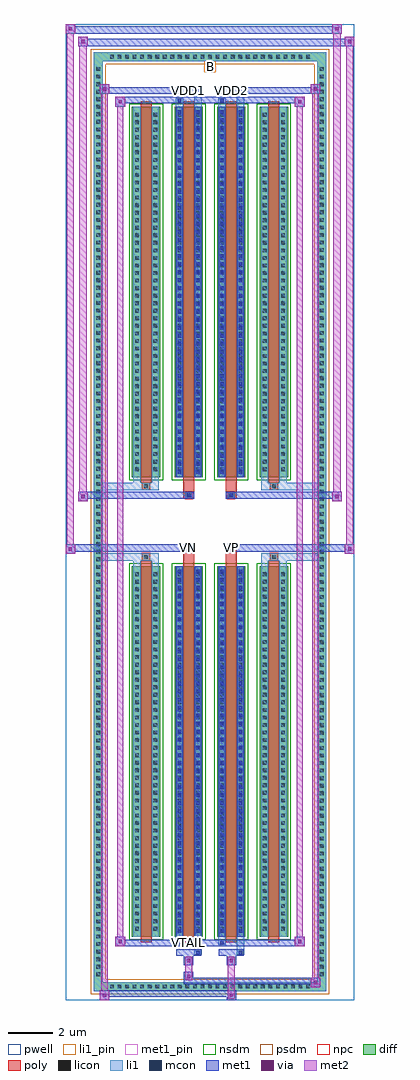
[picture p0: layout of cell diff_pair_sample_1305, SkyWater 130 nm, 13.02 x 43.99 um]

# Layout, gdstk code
import gdstk
lib = gdstk.Library(unit=1e-6, precision=5e-09)
def R(c, l, rs):  # rectangles x0, y0, x1, y1
    for r in rs: c.add(gdstk.rectangle(r[:2], r[2:], *l))
def A(c, l, x, y, w, h, nx, ny, dx, dy):  # array of equal rectangles
    R(c, l, [(x+i*dx, y+j*dy, x+i*dx+w, y+j*dy+h) for i in range(nx) for j in range(ny)])
def P(c, l, *ps):  # polygons
    for p in ps: c.add(gdstk.Polygon(p, *l))
pwell = (64, 44)
diff = (65, 20)
poly = (66, 20)
licon = (66, 44)
li1_pin = (67, 16)
li1 = (67, 20)
mcon = (67, 44)
met1_pin = (68, 16)
met1 = (68, 20)
via = (68, 44)
met2 = (69, 20)
nsdm = (93, 44)
psdm = (94, 20)
npc = (95, 20)

diff_pair_sample_1305 = lib.new_cell('diff_pair_sample_1305')
R(diff_pair_sample_1305, pwell, [(-6.51,-21.56,6.51,22.43), (-3.83,-19.75,-0.01,-0.825), (0.01,-19.75,3.83,-0.825), (-3.83,0.825,-0.01,19.75), (0.01,0.825,3.83,19.75)])
A(diff_pair_sample_1305, diff, -4.625, -21.16, 0.41, 0.41, 27, 2, 0.34, 41.91)
A(diff_pair_sample_1305, diff, -5.24, -20.605, 0.41, 0.41, 1, 121, 0, 0.34)
A(diff_pair_sample_1305, diff, 4.83, -20.605, 0.41, 0.41, 1, 121, 0, 0.34)
A(diff_pair_sample_1305, diff, -3.52, -18.705, 1.28, 16.7, 4, 2, 1.92, 20.71)
R(diff_pair_sample_1305, diff, [(-4.625,-21.16,4.625,-20.75), (-5.24,-20.605,-4.83,20.605), (4.83,-20.605,5.24,20.605), (-4.625,20.75,4.625,21.16)])
P(diff_pair_sample_1305, diff, [(5.24,21.16),(-5.24,21.16),(-5.24,-20.75),(-4.83,-20.75),(-4.83,20.75),(4.83,20.75),(4.83,-20.75),(-4.83,-20.75),(-5.24,-20.75),(-5.24,-21.16),(5.24,-21.16)])
A(diff_pair_sample_1305, poly, -3.13, -18.955, 0.5, 17.2, 4, 2, 1.92, 20.71)
R(diff_pair_sample_1305, poly, [(-3.045,-1.755,-2.715,-1.425), (-3.045,-1.755,-2.715,-1.425), (-1.21,-1.755,-0.71,-1.355), (0.71,-1.755,1.21,-1.355), (2.715,-1.755,3.045,-1.425), (2.715,-1.755,3.045,-1.425), (-1.21,-1.355,-0.71,-1.025), (-1.125,-1.355,-0.795,-1.025), (0.71,-1.355,1.21,-1.025), (0.795,-1.355,1.125,-1.025), (-1.21,1.025,-0.71,1.355), (-1.125,1.025,-0.795,1.355), (0.71,1.025,1.21,1.355), (0.795,1.025,1.125,1.355), (-1.21,1.355,-0.71,1.755), (0.71,1.355,1.21,1.755), (-3.045,1.425,-2.715,1.755), (-3.045,1.425,-2.715,1.755), (2.715,1.425,3.045,1.755), (2.715,1.425,3.045,1.755)])
A(diff_pair_sample_1305, licon, -4.505, -21.04, 0.17, 0.17, 27, 2, 0.34, 41.91)
A(diff_pair_sample_1305, licon, -5.12, -20.485, 0.17, 0.17, 1, 121, 0, 0.34)
A(diff_pair_sample_1305, licon, 4.95, -20.485, 0.17, 0.17, 1, 121, 0, 0.34)
A(diff_pair_sample_1305, licon, -3.38, -18.43, 0.17, 0.17, 1, 48, 0, 0.34)
A(diff_pair_sample_1305, licon, -2.55, -18.43, 0.17, 0.17, 1, 48, 0, 0.34)
A(diff_pair_sample_1305, licon, -1.46, -18.43, 0.17, 0.17, 1, 48, 0, 0.34)
A(diff_pair_sample_1305, licon, -0.63, -18.43, 0.17, 0.17, 1, 48, 0, 0.34)
A(diff_pair_sample_1305, licon, 0.46, -18.43, 0.17, 0.17, 1, 48, 0, 0.34)
A(diff_pair_sample_1305, licon, 1.29, -18.43, 0.17, 0.17, 1, 48, 0, 0.34)
A(diff_pair_sample_1305, licon, 2.38, -18.43, 0.17, 0.17, 1, 48, 0, 0.34)
A(diff_pair_sample_1305, licon, 3.21, -18.43, 0.17, 0.17, 1, 48, 0, 0.34)
A(diff_pair_sample_1305, licon, -3.38, 2.28, 0.17, 0.17, 1, 48, 0, 0.34)
A(diff_pair_sample_1305, licon, -2.55, 2.28, 0.17, 0.17, 1, 48, 0, 0.34)
A(diff_pair_sample_1305, licon, -1.46, 2.28, 0.17, 0.17, 1, 48, 0, 0.34)
A(diff_pair_sample_1305, licon, -0.63, 2.28, 0.17, 0.17, 1, 48, 0, 0.34)
A(diff_pair_sample_1305, licon, 0.46, 2.28, 0.17, 0.17, 1, 48, 0, 0.34)
A(diff_pair_sample_1305, licon, 1.29, 2.28, 0.17, 0.17, 1, 48, 0, 0.34)
A(diff_pair_sample_1305, licon, 2.38, 2.28, 0.17, 0.17, 1, 48, 0, 0.34)
A(diff_pair_sample_1305, licon, 3.21, 2.28, 0.17, 0.17, 1, 48, 0, 0.34)
R(diff_pair_sample_1305, licon, [(-2.965,-1.675,-2.795,-1.505), (2.795,-1.675,2.965,-1.505), (-1.045,-1.275,-0.875,-1.105), (0.875,-1.275,1.045,-1.105), (-1.045,1.105,-0.875,1.275), (0.875,1.105,1.045,1.275), (-2.965,1.505,-2.795,1.675), (2.795,1.505,2.965,1.675)])
R(diff_pair_sample_1305, li1_pin, [(-0.25,20.25,0.25,20.75)])
A(diff_pair_sample_1305, li1, -4.585, -21.12, 0.33, 0.33, 27, 2, 0.34, 41.91)
A(diff_pair_sample_1305, li1, -5.2, -20.565, 0.33, 0.33, 1, 121, 0, 0.34)
A(diff_pair_sample_1305, li1, 4.87, -20.565, 0.33, 0.33, 1, 121, 0, 0.34)
A(diff_pair_sample_1305, li1, -1.46, -18.54, 0.17, 0.17, 1, 46, 0, 0.36)
A(diff_pair_sample_1305, li1, -0.63, -18.54, 0.17, 0.17, 1, 46, 0, 0.36)
A(diff_pair_sample_1305, li1, 0.46, -18.54, 0.17, 0.17, 1, 46, 0, 0.36)
A(diff_pair_sample_1305, li1, 1.29, -18.54, 0.17, 0.17, 1, 46, 0, 0.36)
A(diff_pair_sample_1305, li1, -3.46, -18.51, 0.33, 0.33, 1, 48, 0, 0.34)
A(diff_pair_sample_1305, li1, -2.63, -18.51, 0.33, 0.33, 1, 48, 0, 0.34)
A(diff_pair_sample_1305, li1, -1.54, -18.51, 0.33, 0.33, 1, 48, 0, 0.34)
A(diff_pair_sample_1305, li1, -0.71, -18.51, 0.33, 0.33, 1, 48, 0, 0.34)
A(diff_pair_sample_1305, li1, 0.38, -18.51, 0.33, 0.33, 1, 48, 0, 0.34)
A(diff_pair_sample_1305, li1, 1.21, -18.51, 0.33, 0.33, 1, 48, 0, 0.34)
A(diff_pair_sample_1305, li1, 2.3, -18.51, 0.33, 0.33, 1, 48, 0, 0.34)
A(diff_pair_sample_1305, li1, 3.13, -18.51, 0.33, 0.33, 1, 48, 0, 0.34)
A(diff_pair_sample_1305, li1, -1.46, 2.17, 0.17, 0.17, 1, 46, 0, 0.36)
A(diff_pair_sample_1305, li1, -0.63, 2.17, 0.17, 0.17, 1, 46, 0, 0.36)
A(diff_pair_sample_1305, li1, 0.46, 2.17, 0.17, 0.17, 1, 46, 0, 0.36)
A(diff_pair_sample_1305, li1, 1.29, 2.17, 0.17, 0.17, 1, 46, 0, 0.36)
A(diff_pair_sample_1305, li1, -3.46, 2.2, 0.33, 0.33, 1, 48, 0, 0.34)
A(diff_pair_sample_1305, li1, -2.63, 2.2, 0.33, 0.33, 1, 48, 0, 0.34)
A(diff_pair_sample_1305, li1, -1.54, 2.2, 0.33, 0.33, 1, 48, 0, 0.34)
A(diff_pair_sample_1305, li1, -0.71, 2.2, 0.33, 0.33, 1, 48, 0, 0.34)
A(diff_pair_sample_1305, li1, 0.38, 2.2, 0.33, 0.33, 1, 48, 0, 0.34)
A(diff_pair_sample_1305, li1, 1.21, 2.2, 0.33, 0.33, 1, 48, 0, 0.34)
A(diff_pair_sample_1305, li1, 2.3, 2.2, 0.33, 0.33, 1, 48, 0, 0.34)
A(diff_pair_sample_1305, li1, 3.13, 2.2, 0.33, 0.33, 1, 48, 0, 0.34)
R(diff_pair_sample_1305, li1, [(-5.24,-21.16,-4.83,-20.75), (-5.24,-21.16,-4.83,-20.75), (-4.83,-21.16,4.83,-20.75), (4.83,-21.16,5.24,-20.75), (4.83,-21.16,5.24,-20.75), (-5.24,-20.75,-4.83,20.75), (4.83,-20.75,5.24,20.75), (-0.71,-19.51,-0.38,-18.705), (-0.63,-19.51,-0.46,-19.34), (1.21,-19.51,1.54,-18.705), (1.29,-19.51,1.46,-19.34), (-1.54,-19.08,-1.21,-18.705), (-1.46,-19.08,-1.29,-18.91), (0.38,-19.08,0.71,-18.705), (0.46,-19.08,0.63,-18.91), (-3.46,-18.705,-3.13,-2.005), (-2.63,-18.705,-2.3,-2.005), (-1.54,-18.705,-1.21,-2.005), (-0.71,-18.705,-0.38,-2.005), (0.38,-18.705,0.71,-2.005), (1.21,-18.705,1.54,-2.005), (2.3,-18.705,2.63,-2.005), (3.13,-18.705,3.46,-2.005), (-1.46,-18.54,-1.29,-2.17), (-0.63,-18.54,-0.46,-2.17), (0.46,-18.54,0.63,-2.17), (1.29,-18.54,1.46,-2.17), (-3.46,-2.005,-3.13,-1.425), (-2.63,-2.005,-2.3,-1.425), (2.3,-2.005,2.63,-1.425), (3.13,-2.005,3.46,-1.425), (-5.24,-1.755,-3.045,-1.425), (-3.46,-1.755,-3.045,-1.425), (-3.045,-1.755,-2.715,-1.425), (-2.715,-1.755,-2.3,-1.425), (2.3,-1.755,2.715,-1.425), (2.715,-1.755,3.045,-1.425), (2.715,-1.755,5.24,-1.425), (3.045,-1.755,3.46,-1.425), (-1.125,-1.355,-0.795,-1.025), (0.795,-1.355,1.125,-1.025), (-1.125,1.025,-0.795,1.355), (0.795,1.025,1.125,1.355), (-5.24,1.425,-3.045,1.755), (-3.46,1.425,-3.045,1.755), (-3.46,1.425,-3.13,2.005), (-3.045,1.425,-2.715,1.755), (-2.715,1.425,-2.3,1.755), (-2.63,1.425,-2.3,2.005), (2.3,1.425,2.715,1.755), (2.3,1.425,2.63,2.005), (2.715,1.425,3.045,1.755), (2.715,1.425,5.24,1.755), (3.045,1.425,3.46,1.755), (3.13,1.425,3.46,2.005), (-3.46,2.005,-3.13,18.705), (-2.63,2.005,-2.3,18.705), (-1.54,2.005,-1.21,18.705), (-0.71,2.005,-0.38,18.705), (0.38,2.005,0.71,18.705), (1.21,2.005,1.54,18.705), (2.3,2.005,2.63,18.705), (3.13,2.005,3.46,18.705), (-1.46,2.17,-1.29,18.54), (-0.63,2.17,-0.46,18.54), (0.46,2.17,0.63,18.54), (1.29,2.17,1.46,18.54), (-1.54,18.705,-1.21,19.08), (-0.71,18.705,-0.38,19.51), (0.38,18.705,0.71,19.08), (1.21,18.705,1.54,19.51), (-1.46,18.91,-1.29,19.08), (0.46,18.91,0.63,19.08), (-0.63,19.34,-0.46,19.51), (1.29,19.34,1.46,19.51), (-5.24,20.75,-4.83,21.16), (-5.24,20.75,-4.83,21.16), (-4.83,20.75,4.83,21.16), (4.83,20.75,5.24,21.16), (4.83,20.75,5.24,21.16)])
A(diff_pair_sample_1305, mcon, -1.46, -18.54, 0.17, 0.17, 1, 46, 0, 0.36)
A(diff_pair_sample_1305, mcon, -0.63, -18.54, 0.17, 0.17, 1, 46, 0, 0.36)
A(diff_pair_sample_1305, mcon, 0.46, -18.54, 0.17, 0.17, 1, 46, 0, 0.36)
A(diff_pair_sample_1305, mcon, 1.29, -18.54, 0.17, 0.17, 1, 46, 0, 0.36)
A(diff_pair_sample_1305, mcon, -1.46, 2.17, 0.17, 0.17, 1, 46, 0, 0.36)
A(diff_pair_sample_1305, mcon, -0.63, 2.17, 0.17, 0.17, 1, 46, 0, 0.36)
A(diff_pair_sample_1305, mcon, 0.46, 2.17, 0.17, 0.17, 1, 46, 0, 0.36)
A(diff_pair_sample_1305, mcon, 1.29, 2.17, 0.17, 0.17, 1, 46, 0, 0.36)
R(diff_pair_sample_1305, mcon, [(-0.63,-19.51,-0.46,-19.34), (1.29,-19.51,1.46,-19.34), (-1.46,-19.08,-1.29,-18.91), (0.46,-19.08,0.63,-18.91), (-1.045,-1.275,-0.875,-1.105), (0.875,-1.275,1.045,-1.105), (-1.045,1.105,-0.875,1.275), (0.875,1.105,1.045,1.275), (-1.46,18.91,-1.29,19.08), (0.46,18.91,0.63,19.08), (-0.63,19.34,-0.46,19.51), (1.29,19.34,1.46,19.51)])
R(diff_pair_sample_1305, met1_pin, [(-1.095,-19.12,-0.825,-18.85), (-1.095,-1.295,-0.825,-1.025), (0.825,-1.295,1.095,-1.025), (-1.095,19.3,-0.825,19.57), (0.825,19.3,1.095,19.57)])
A(diff_pair_sample_1305, met1, -1.52, -18.6, 0.29, 0.29, 1, 46, 0, 0.36)
A(diff_pair_sample_1305, met1, -0.69, -18.6, 0.29, 0.29, 1, 46, 0, 0.36)
A(diff_pair_sample_1305, met1, 0.4, -18.6, 0.29, 0.29, 1, 46, 0, 0.36)
A(diff_pair_sample_1305, met1, 1.23, -18.6, 0.29, 0.29, 1, 46, 0, 0.36)
A(diff_pair_sample_1305, met1, -1.52, 2.11, 0.29, 0.29, 1, 46, 0, 0.36)
A(diff_pair_sample_1305, met1, -0.69, 2.11, 0.29, 0.29, 1, 46, 0, 0.36)
A(diff_pair_sample_1305, met1, 0.4, 2.11, 0.29, 0.29, 1, 46, 0, 0.36)
A(diff_pair_sample_1305, met1, 1.23, 2.11, 0.29, 0.29, 1, 46, 0, 0.36)
R(diff_pair_sample_1305, met1, [(-4.97,-21.56,-4.54,-21.13), (0.745,-21.56,1.175,-21.13), (-4.97,-21.42,1.175,-21.13), (4.54,-20.99,4.97,-20.56), (-1.175,-20.85,4.97,-20.56), (-1.175,-20.71,-0.745,-20.28), (-1.175,-20,-0.745,-19.57), (0.745,-20,1.175,-19.57), (-1.52,-19.57,-0.4,-19.28), (-0.69,-19.57,-0.4,-19.28), (0.4,-19.57,1.52,-19.28), (1.23,-19.57,1.52,-19.28), (-4.26,-19.14,-3.83,-18.71), (-4.26,-19.14,-1.52,-18.85), (-1.52,-19.14,-1.23,-18.85), (-1.52,-19.14,-0.4,-18.85), (-0.4,-19.14,0.4,-18.85), (0.4,-19.14,0.69,-18.85), (0.4,-19.14,1.52,-18.85), (1.52,-19.14,4.26,-18.85), (3.83,-19.14,4.26,-18.71), (-1.52,-18.705,-1.23,-2.005), (-0.69,-18.705,-0.4,-2.005), (0.4,-18.705,0.69,-2.005), (1.23,-18.705,1.52,-2.005), (-6.51,-1.455,-6.08,-1.025), (6.08,-1.455,6.51,-1.025), (-6.51,-1.355,-0.71,-1.025), (-1.21,-1.355,-0.71,-1.025), (0.71,-1.355,1.21,-1.025), (0.71,-1.355,6.51,-1.025), (-1.105,-1.335,-0.815,-1.045), (0.815,-1.335,1.105,-1.045), (-5.94,0.925,-5.51,1.355), (5.51,0.925,5.94,1.355), (-5.94,1.025,-1.21,1.355), (-1.21,1.025,-0.71,1.355), (0.71,1.025,1.21,1.355), (1.21,1.025,5.94,1.355), (-1.105,1.045,-0.815,1.335), (0.815,1.045,1.105,1.335), (-1.52,2.005,-1.23,18.705), (-0.69,2.005,-0.4,18.705), (0.4,2.005,0.69,18.705), (1.23,2.005,1.52,18.705), (-4.26,18.71,-3.83,19.14), (3.83,18.71,4.26,19.14), (-4.26,18.85,-1.52,19.14), (-1.52,18.85,-1.23,19.14), (-1.52,18.85,-0.4,19.14), (-0.4,18.85,0.4,19.14), (0.4,18.85,0.69,19.14), (0.4,18.85,1.52,19.14), (1.52,18.85,4.26,19.14), (-4.97,19.28,-4.54,19.71), (-4.97,19.28,-1.52,19.57), (-1.52,19.28,-0.4,19.57), (-0.69,19.28,-0.4,19.57), (0.4,19.28,1.52,19.57), (1.23,19.28,1.52,19.57), (1.52,19.28,4.97,19.57), (4.54,19.28,4.97,19.71), (-5.94,21.43,-5.51,21.86), (-5.94,21.43,-3.83,21.76), (-3.83,21.43,3.83,21.76), (3.83,21.43,6.51,21.76), (6.08,21.43,6.51,21.86), (-6.51,22,-6.08,22.43), (-6.51,22,-3.83,22.33), (-3.83,22,3.83,22.33), (3.83,22,5.94,22.33), (5.51,22,5.94,22.43)])
R(diff_pair_sample_1305, via, [(-4.83,-21.42,-4.68,-21.27), (0.885,-21.42,1.035,-21.27), (4.68,-20.85,4.83,-20.7), (-1.035,-20.57,-0.885,-20.42), (-1.035,-19.86,-0.885,-19.71), (0.885,-19.86,1.035,-19.71), (-4.12,-19,-3.97,-18.85), (3.97,-19,4.12,-18.85), (-6.37,-1.315,-6.22,-1.165), (6.22,-1.315,6.37,-1.165), (-5.8,1.065,-5.65,1.215), (5.65,1.065,5.8,1.215), (-4.12,18.85,-3.97,19), (3.97,18.85,4.12,19), (-4.83,19.42,-4.68,19.57), (4.68,19.42,4.83,19.57), (-5.8,21.57,-5.65,21.72), (6.22,21.57,6.37,21.72), (-6.37,22.14,-6.22,22.29), (5.65,22.14,5.8,22.29)])
R(diff_pair_sample_1305, met2, [(-4.97,-21.56,-4.54,-21.13), (-4.9,-21.56,-4.61,19.71), (-4.61,-21.56,-4.54,-21.13), (-4.92,-21.51,-4.59,-21.18), (0.795,-21.51,1.125,-21.18), (0.795,-21.18,1.125,-19.95), (4.54,-20.99,4.97,-20.56), (4.61,-20.99,4.9,19.71), (4.9,-20.99,4.97,-20.56), (4.59,-20.94,4.92,-20.61), (-1.125,-20.66,-0.795,-20.33), (-1.125,-20.33,-0.795,-19.95), (-1.125,-19.95,-0.795,-19.62), (0.795,-19.95,1.125,-19.62), (-4.26,-19.14,-3.83,-18.71), (-4.19,-19.14,-3.9,19.14), (-3.9,-19.14,-3.83,-18.71), (3.83,-19.14,4.26,-18.71), (3.9,-19.14,4.19,19.14), (4.19,-19.14,4.26,-18.71), (-4.21,-19.09,-3.88,-18.76), (3.88,-19.09,4.21,-18.76), (-6.51,-1.455,-6.08,-1.025), (-6.46,-1.455,-6.13,22.43), (-6.13,-1.455,-6.08,-1.025), (6.08,-1.455,6.51,-1.025), (6.13,-1.455,6.46,21.86), (6.46,-1.455,6.51,-1.025), (-6.46,-1.405,-6.13,-1.075), (6.13,-1.405,6.46,-1.075), (-5.94,0.925,-5.51,1.355), (-5.89,0.925,-5.56,21.86), (-5.56,0.925,-5.51,1.355), (5.51,0.925,5.94,1.355), (5.56,0.925,5.89,22.43), (5.89,0.925,5.94,1.355), (-5.89,0.975,-5.56,1.305), (5.56,0.975,5.89,1.305), (-4.26,18.71,-3.83,19.14), (-3.9,18.71,-3.83,19.14), (3.83,18.71,4.26,19.14), (4.19,18.71,4.26,19.14), (-4.21,18.76,-3.88,19.09), (3.88,18.76,4.21,19.09), (-4.97,19.28,-4.54,19.71), (-4.61,19.28,-4.54,19.71), (4.54,19.28,4.97,19.71), (4.9,19.28,4.97,19.71), (-4.92,19.33,-4.59,19.66), (4.59,19.33,4.92,19.66), (-5.94,21.43,-5.51,21.86), (-5.56,21.43,-5.51,21.86), (6.08,21.43,6.51,21.86), (6.46,21.43,6.51,21.86), (-5.89,21.48,-5.56,21.81), (6.13,21.48,6.46,21.81), (-6.51,22,-6.08,22.43), (-6.13,22,-6.08,22.43), (5.51,22,5.94,22.43), (5.89,22,5.94,22.43), (-6.46,22.05,-6.13,22.38), (5.56,22.05,5.89,22.38)])
A(diff_pair_sample_1305, nsdm, -3.65, -18.835, 1.54, 16.96, 4, 2, 1.92, 20.71)
P(diff_pair_sample_1305, psdm, [(5.37,21.29),(-5.37,21.29),(-5.37,-20.62),(-4.7,-20.62),(-4.7,20.62),(4.7,20.62),(4.7,-20.62),(-4.7,-20.62),(-5.37,-20.62),(-5.37,-21.29),(5.37,-21.29)])
R(diff_pair_sample_1305, npc, [(-3.065,-1.775,-2.695,-1.405), (2.695,-1.775,3.065,-1.405), (-1.145,-1.375,-0.775,-1.005), (0.775,-1.375,1.145,-1.005), (-1.145,1.005,-0.775,1.375), (0.775,1.005,1.145,1.375), (-3.065,1.405,-2.695,1.775), (2.695,1.405,3.065,1.775)])
diff_pair_sample_1305.add(gdstk.Label('VTAIL', (-0.96,-18.985), layer=68, texttype=5))
diff_pair_sample_1305.add(gdstk.Label('VN', (-0.96,-1.16), layer=68, texttype=5))
diff_pair_sample_1305.add(gdstk.Label('VP', (0.96,-1.16), layer=68, texttype=5))
diff_pair_sample_1305.add(gdstk.Label('B', (0,20.5), layer=67, texttype=5))
diff_pair_sample_1305.add(gdstk.Label('VDD2', (0.96,19.435), layer=68, texttype=5))
diff_pair_sample_1305.add(gdstk.Label('VDD1', (-0.96,19.435), layer=68, texttype=5))

lib.write_gds('diff_pair_sample_1305.gds')
